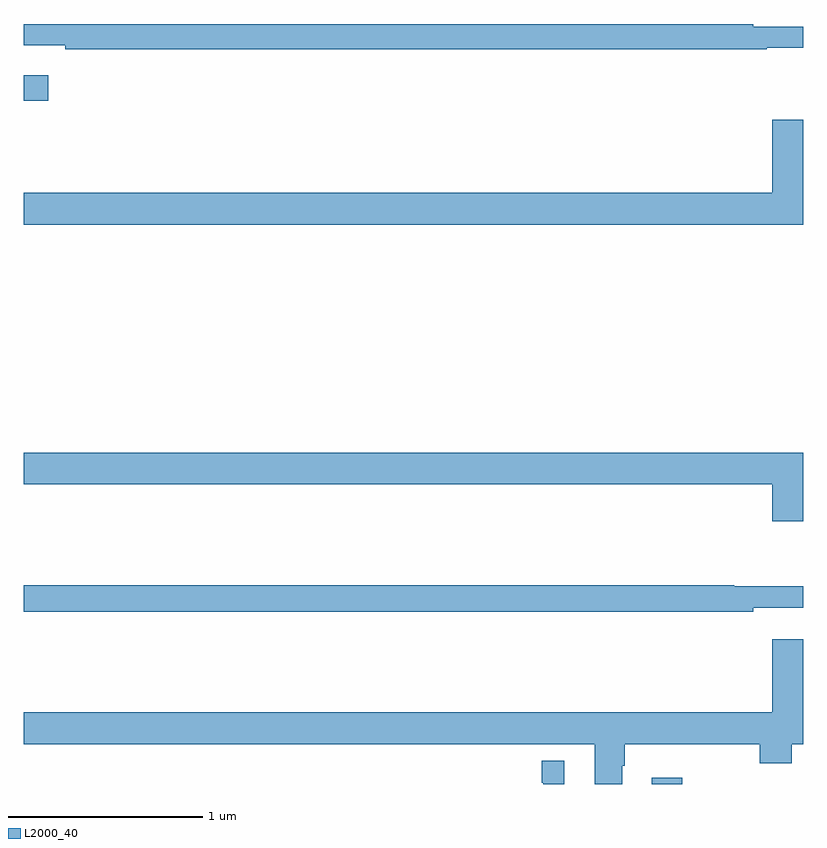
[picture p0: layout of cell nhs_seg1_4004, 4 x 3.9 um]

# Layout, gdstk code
import gdstk
lib = gdstk.Library(unit=1e-6, precision=1e-09)
def R(c, l, rs):  # rectangles x0, y0, x1, y1
    for r in rs: c.add(gdstk.rectangle(r[:2], r[2:], *l))
def P(c, l, *ps):  # polygons
    for p in ps: c.add(gdstk.Polygon(p, *l))
L2000_40 = (2000, 40)

nhs_seg1_4004 = lib.new_cell('nhs_seg1_4004')
R(nhs_seg1_4004, L2000_40, [(332.223,546.199,332.379,546.232), (329,549.706,329.125,549.835)])
P(nhs_seg1_4004, L2000_40, [(332.812,549.978),(333,549.978),(333,550.086),(332.744,550.086),(332.744,550.099),(329,550.099),(329,549.989),(329.212,549.989),(329.212,549.97),(332.812,549.97)],
  [(333,549.607),(332.84,549.607),(332.84,549.232),(329,549.232),(329,549.068),(333,549.068)],
  [(333,547.9),(329,547.9),(329,547.736),(332.84,547.736),(332.84,547.548),(333,547.548)],
  [(332.744,547.103),(333,547.103),(333,547.213),(332.645,547.213),(332.645,547.22),(329,547.22),(329,547.084),(332.744,547.084)],
  [(329,546.404),(331.931,546.404),(331.931,546.199),(332.071,546.199),(332.071,546.293),(332.084,546.293),(332.084,546.404),(332.777,546.404),(332.777,546.305),(332.942,546.305),(332.942,546.404),(333,546.404),(333,546.943),(332.84,546.943),(332.84,546.568),(329,546.568)],
  [(331.774,546.319),(331.657,546.319),(331.657,546.206),(331.665,546.206),(331.665,546.199),(331.774,546.199)])

lib.write_gds('nhs_seg1_4004.gds')
